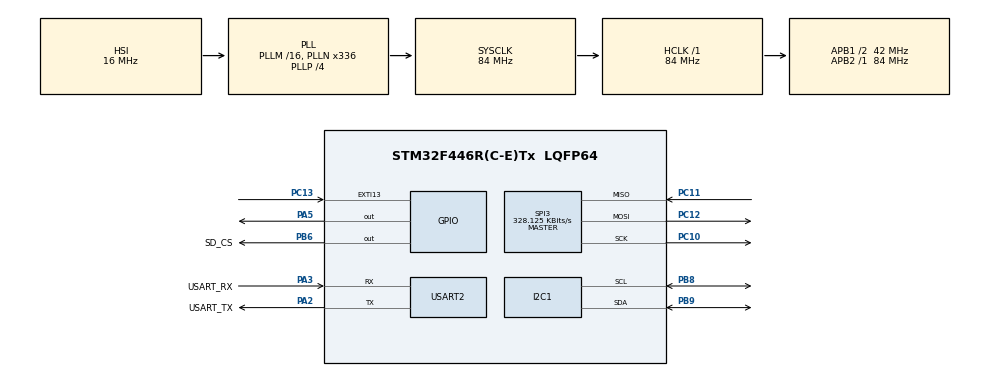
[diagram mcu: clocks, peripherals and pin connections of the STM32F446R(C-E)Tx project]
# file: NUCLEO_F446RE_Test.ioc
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Dma.Request0=SPI3_TX
Dma.Request1=SPI3_RX
Dma.SPI3_RX.1.Direction=DMA_PERIPH_TO_MEMORY
Dma.SPI3_RX.1.FIFOMode=DMA_FIFOMODE_DISABLE
Dma.SPI3_RX.1.Instance=DMA1_Stream0
Dma.SPI3_RX.1.MemDataAlignment=DMA_MDATAALIGN_BYTE
Dma.SPI3_RX.1.MemInc=DMA_MINC_ENABLE
Dma.SPI3_RX.1.Mode=DMA_NORMAL
Dma.SPI3_RX.1.PeriphDataAlignment=DMA_PDATAALIGN_BYTE
Dma.SPI3_RX.1.PeriphInc=DMA_PINC_DISABLE
Dma.SPI3_RX.1.Priority=DMA_PRIORITY_LOW
Dma.SPI3_TX.0.Direction=DMA_MEMORY_TO_PERIPH
Dma.SPI3_TX.0.FIFOMode=DMA_FIFOMODE_DISABLE
Dma.SPI3_TX.0.Instance=DMA1_Stream5
Dma.SPI3_TX.0.MemDataAlignment=DMA_MDATAALIGN_BYTE
Dma.SPI3_TX.0.MemInc=DMA_MINC_ENABLE
Dma.SPI3_TX.0.Mode=DMA_NORMAL
Dma.SPI3_TX.0.PeriphDataAlignment=DMA_PDATAALIGN_BYTE
Dma.SPI3_TX.0.PeriphInc=DMA_PINC_DISABLE
Dma.SPI3_TX.0.Priority=DMA_PRIORITY_LOW
FATFS._FS_REENTRANT=0
FREERTOS.BinarySemaphores01=ButtonSem,Dynamic,NULL,Available
FREERTOS.Mutexes01=I2cMutex,Dynamic,NULL,Available
FREERTOS.Tasks01=SdLogTask,16,1024,StartSdLogTask,Default,NULL,Dynamic,NULL,NULL;LedTask,32,128,StartLedTask,Default,NULL,Dynamic,NULL,NULL;SensorTask,24,256,StartSensorTask,Default,NULL,Dynamic,NULL,NULL;OledTask,24,512,StartOledTask,Default,NULL,Dynamic,NULL,NULL;UartCmdTask,24,256,StartUartCmdTask,Default,NULL,Dynamic,NULL,NULL;ButtonTask,40,128,StartButtonTask,Default,NULL,Dynamic,NULL,NULL
FREERTOS.configCHECK_FOR_STACK_OVERFLOW=2
FREERTOS.configTOTAL_HEAP_SIZE=20480
FREERTOS.configUSE_NEWLIB_REENTRANT=0
Mcu.Family=STM32F4
Mcu.Name=STM32F446R(C-E)Tx
Mcu.Package=LQFP64
NUCLEO-F446RE.BUTTON=1
NUCLEO-F446RE.LD1=true
NVIC.DMA1_Stream0_IRQn=true\:5\:0\:false\:false\:true\:true\:false\:true\:true
NVIC.DMA1_Stream5_IRQn=true\:5\:0\:false\:false\:true\:true\:false\:true\:true
NVIC.EXTI15_10_IRQn=true\:5\:0\:false\:false\:true\:true\:false\:true\:true
NVIC.PriorityGroup=NVIC_PRIORITYGROUP_4
NVIC.TIM6_DAC_IRQn=true\:15\:0\:false\:false\:true\:false\:false\:true\:true
NVIC.TimeBase=TIM6_DAC_IRQn
NVIC.TimeBaseIP=TIM6
NVIC.USART2_IRQn=true\:5\:0\:false\:false\:true\:true\:true\:true\:true
PA13.GPIO_Label=TMS
PA13.Signal=SYS_JTMS-SWDIO
PA14.GPIO_Label=TCK
PA14.Signal=SYS_JTCK-SWCLK
PA2.GPIO_Label=USART_TX
PA2.Mode=Asynchronous
PA2.Signal=USART2_TX
PA3.GPIO_Label=USART_RX
PA3.Mode=Asynchronous
PA3.Signal=USART2_RX
PA5.Signal=GPIO_Output
PB3.GPIO_Label=SWO
PB3.Signal=SYS_JTDO-SWO
PB6.GPIO_Label=SD_CS
PB6.Signal=GPIO_Output
PB8.Mode=I2C
PB8.Signal=I2C1_SCL
PB9.Mode=I2C
PB9.Signal=I2C1_SDA
PC10.Mode=Full_Duplex_Master
PC10.Signal=SPI3_SCK
PC11.Mode=Full_Duplex_Master
PC11.Signal=SPI3_MISO
PC12.Mode=Full_Duplex_Master
PC12.Signal=SPI3_MOSI
PC13.Signal=GPXTI13
PC14-OSC32_IN.Signal=RCC_OSC32_IN
PC15-OSC32_OUT.Signal=RCC_OSC32_OUT
PH0-OSC_IN.Signal=RCC_OSC_IN
PH1-OSC_OUT.Signal=RCC_OSC_OUT
ProjectManager.HeapSize=0x200
ProjectManager.StackSize=0x1000
ProjectManager.TargetToolchain=STM32CubeIDE
RCC.AHBFreq_Value=84000000
RCC.APB1CLKDivider=RCC_HCLK_DIV2
RCC.APB1Freq_Value=42000000
RCC.APB1TimFreq_Value=84000000
RCC.APB2Freq_Value=84000000
RCC.APB2TimFreq_Value=84000000
RCC.CortexFreq_Value=84000000
RCC.FLatency-AdvancedSettings=FLASH_LATENCY_2
RCC.HCLKFreq_Value=84000000
RCC.HSE_VALUE=8000000
RCC.HSI_VALUE=16000000
RCC.LSE_VALUE=32768
RCC.PLLN=336
RCC.PLLP=RCC_PLLP_DIV4
RCC.SYSCLKFreq_VALUE=84000000
RCC.SYSCLKSource=RCC_SYSCLKSOURCE_PLLCLK
RCC.USBFreq_Value=168000000
RCC.VCOOutputFreq_Value=336000000
SPI3.BaudRatePrescaler=SPI_BAUDRATEPRESCALER_128
SPI3.CalculateBaudRate=328.125 KBits/s
SPI3.Direction=SPI_DIRECTION_2LINES
SPI3.Mode=SPI_MODE_MASTER
SPI3.VirtualType=VM_MASTER
USART2.VirtualMode=VM_ASYNC
VP_FATFS_VS_Generic.Mode=User_defined
VP_FREERTOS_VS_CMSIS_V2.Mode=CMSIS_V2
VP_NUCLEO-F446RE_VS_BSP_COMMON.Mode=COMMON
VP_SYS_VS_tim6.Mode=TIM6
board=NUCLEO-F446RE

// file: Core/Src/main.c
/* USER CODE BEGIN Header */
/**
  ******************************************************************************
  * @file           : main.c
  * @brief          : Main program body
  ******************************************************************************
  * @attention
  *
  * Copyright (c) 2026 STMicroelectronics.
  * All rights reserved.
  *
  * This software is licensed under terms that can be found in the LICENSE file
  * in the root directory of this software component.
  * If no LICENSE file comes with this software, it is provided AS-IS.
  *
  ******************************************************************************
  */
/* USER CODE END Header */
#include "main.h"
#include "cmsis_os.h"
#include "fatfs.h"

/* USER CODE BEGIN Includes */
#include <stdio.h> // "為了 使用 printf 進行序列埠除錯輸出" 2026/07/05 [ADD] by s895025.
#include <string.h> // "為了 使用 memset(...)" 2026/08/01 [ADD] by s895025.
#include "app_button_led.h"
#include "app_uart_cmd.h"
#include "app_bmp180.h"
#include "app_oled.h"
#include "diskio.h"
#include "app_sdlog.h"
/* USER CODE END Includes */

I2C_HandleTypeDef hi2c1;

SPI_HandleTypeDef hspi3;
DMA_HandleTypeDef hdma_spi3_tx;
DMA_HandleTypeDef hdma_spi3_rx;

UART_HandleTypeDef huart2;

/* Definitions for SdLogTask */
osThreadId_t SdLogTaskHandle;
const osThreadAttr_t SdLogTask_attributes = {
  .name = "SdLogTask",
  .stack_size = 1024 * 4,
  .priority = (osPriority_t) osPriorityBelowNormal,
};
/* Definitions for LedTask */
osThreadId_t LedTaskHandle;
const osThreadAttr_t LedTask_attributes = {
  .name = "LedTask",
  .stack_size = 128 * 4,
  .priority = (osPriority_t) osPriorityAboveNormal,
};
/* Definitions for SensorTask */
osThreadId_t SensorTaskHandle;
const osThreadAttr_t SensorTask_attributes = {
  .name = "SensorTask",
  .stack_size = 256 * 4,
  .priority = (osPriority_t) osPriorityNormal,
};
/* Definitions for OledTask */
osThreadId_t OledTaskHandle;
const osThreadAttr_t OledTask_attributes = {
  .name = "OledTask",
  .stack_size = 512 * 4,
  .priority = (osPriority_t) osPriorityNormal,
};
/* Definitions for UartCmdTask */
osThreadId_t UartCmdTaskHandle;
const osThreadAttr_t UartCmdTask_attributes = {
  .name = "UartCmdTask",
  .stack_size = 256 * 4,
  .priority = (osPriority_t) osPriorityNormal,
};
/* Definitions for ButtonTask */
osThreadId_t ButtonTaskHandle;
const osThreadAttr_t ButtonTask_attributes = {
  .name = "ButtonTask",
  .stack_size = 128 * 4,
  .priority = (osPriority_t) osPriorityHigh,
};
/* Definitions for I2cMutex */
osMutexId_t I2cMutexHandle;
const osMutexAttr_t I2cMutex_attributes = {
  .name = "I2cMutex"
};
/* Definitions for ButtonSem */
osSemaphoreId_t ButtonSemHandle;
const osSemaphoreAttr_t ButtonSem_attributes = {
  .name = "ButtonSem"
};
/* USER CODE BEGIN PV */
// Private Variables
volatile uint32_t g_led_max_jitter = 0;
/* USER CODE END PV */

void SystemClock_Config(void);
static void MX_GPIO_Init(void);
static void MX_DMA_Init(void);
static void MX_USART2_UART_Init(void);
static void MX_I2C1_Init(void);
static void MX_SPI3_Init(void);
void StartSdLogTask(void *argument);
void StartLedTask(void *argument);
void StartSensorTask(void *argument);
void StartOledTask(void *argument);
void StartUartCmdTask(void *argument);
void StartButtonTask(void *argument);

/* USER CODE BEGIN PFP */
// Private Function Prototypes

/* USER CODE END PFP */

/* USER CODE BEGIN 0 */
HAL_StatusTypeDef i2c_status;
/* USER CODE END 0 */

int main(void)
{

  /* MCU Configuration--------------------------------------------------------*/

  /* Reset of all peripherals, Initializes the Flash interface and the Systick. */
  HAL_Init();

  /* Configure the system clock */
  SystemClock_Config();

  /* Initialize all configured peripherals */
  MX_GPIO_Init();
  MX_DMA_Init();
  MX_USART2_UART_Init();
  MX_I2C1_Init();
  MX_SPI3_Init();
  MX_FATFS_Init();
  /* USER CODE BEGIN 2 */
  // Button
  printf("\nHello, NUCLEO-F446RE1!\r\n"); // "printf Uart log" 2026/07/04 [ADD] by s895025.

  // Uart
  App_Uart_Receive();

  // I2C
  for (int address = 0x00; address <= 0x7F; address++)
  {
    i2c_status = HAL_I2C_IsDeviceReady(&hi2c1, address << 1, 3, 100); // "Check I2C address state" 2026/07/18 [ADD] by s895025.
    if (i2c_status == HAL_OK)
      printf("address state: %02X\r\n", address);
  }

  App_Bmp180_ReadData(); // "Read chip-id/CalibCoeffs from Bmp180" 2026/07/18 [ADD] by s895025.

  App_Oled_Init();
  //App_Oled_TestDisplay(); // "Show Hi" 2026/07/26 [ADD] by s895025.
  //App_Oled_TestColorBoundary(); // "color-zone boundary test" 2026/07/26 [ADD] by s895025.
  App_Oled_ReadData();

  //SPI
  //DSTATUS res = disk_initialize(0);   // 0 = physical drive number
  //printf("disk_initialize: %d\r\n", res);
  App_SdLog_Init();

  printf("Type 'led on' or 'led off' to control LED2\r\n");

  /* USER CODE END 2 */

  /* Init scheduler */
  osKernelInitialize();
  /* Create the mutex(es) */
  /* creation of I2cMutex */
  I2cMutexHandle = osMutexNew(&I2cMutex_attributes);

  /* Create the semaphores(s) */
  /* creation of ButtonSem */
  ButtonSemHandle = osSemaphoreNew(1, 1, &ButtonSem_attributes);

  /* Create the thread(s) */
  /* creation of SdLogTask */
  SdLogTaskHandle = osThreadNew(StartSdLogTask, NULL, &SdLogTask_attributes);

  /* creation of LedTask */
  LedTaskHandle = osThreadNew(StartLedTask, NULL, &LedTask_attributes);

  /* creation of SensorTask */
  SensorTaskHandle = osThreadNew(StartSensorTask, NULL, &SensorTask_attributes);

  /* creation of OledTask */
  OledTaskHandle = osThreadNew(StartOledTask, NULL, &OledTask_attributes);

  /* creation of UartCmdTask */
  UartCmdTaskHandle = osThreadNew(StartUartCmdTask, NULL, &UartCmdTask_attributes);

  /* creation of ButtonTask */
  ButtonTaskHandle = osThreadNew(StartButtonTask, NULL, &ButtonTask_attributes);

  /* USER CODE BEGIN RTOS_EVENTS */
  /* add events, ... */
  osThreadId_t handles[] = {
    SdLogTaskHandle, LedTaskHandle, SensorTaskHandle,
    OledTaskHandle, UartCmdTaskHandle, I2cMutexHandle
  };

  const char *names[] = {
    "SdLogTask", "LedTask", "SensorTask",
    "OledTask", "UartCmdTask", "I2cMutex"
  };

  for (int i = 0; i < 6; i++)
  {
    if (handles[i] == NULL)
      printf("Task create FAILED: %s\r\n", names[i]);
  }
  printf("Task check done.\r\n");

  //osThreadSetPriority(LedTaskHandle, osPriorityLow);   // Run 2 對照組：jitter 0 → 224 ms

  /* USER CODE END RTOS_EVENTS */

  /* Initialize leds */
  BSP_LED_Init(LED2);

  /* Initialize USER push-button, will be used to trigger an interrupt each time it's pressed.*/
  BSP_PB_Init(BUTTON_USER, BUTTON_MODE_EXTI);

  /* Start scheduler */
  osKernelStart();

  /* We should never get here as control is now taken by the scheduler */

  /* Infinite loop */
  /* USER CODE BEGIN WHILE */
  // osKernelStart() 後面都不會被執行
  while (1)
  {
    /* USER CODE END WHILE */

  }
}

void SystemClock_Config(void)
{
  RCC_OscInitTypeDef RCC_OscInitStruct = {0};
  RCC_ClkInitTypeDef RCC_ClkInitStruct = {0};

  /** Configure the main internal regulator output voltage
  */
  __HAL_RCC_PWR_CLK_ENABLE();
  __HAL_PWR_VOLTAGESCALING_CONFIG(PWR_REGULATOR_VOLTAGE_SCALE3);

  /** Initializes the RCC Oscillators according to the specified parameters
  * in the RCC_OscInitTypeDef structure.
  */
  RCC_OscInitStruct.OscillatorType = RCC_OSCILLATORTYPE_HSI;
  RCC_OscInitStruct.HSIState = RCC_HSI_ON;
  RCC_OscInitStruct.HSICalibrationValue = RCC_HSICALIBRATION_DEFAULT;
  RCC_OscInitStruct.PLL.PLLState = RCC_PLL_ON;
  RCC_OscInitStruct.PLL.PLLSource = RCC_PLLSOURCE_HSI;
  RCC_OscInitStruct.PLL.PLLM = 16;
  RCC_OscInitStruct.PLL.PLLN = 336;
  RCC_OscInitStruct.PLL.PLLP = RCC_PLLP_DIV4;
  RCC_OscInitStruct.PLL.PLLQ = 2;
  RCC_OscInitStruct.PLL.PLLR = 2;
  if (HAL_RCC_OscConfig(&RCC_OscInitStruct) != HAL_OK)
  {
    Error_Handler();
  }

  /** Initializes the CPU, AHB and APB buses clocks
  */
  RCC_ClkInitStruct.ClockType = RCC_CLOCKTYPE_HCLK|RCC_CLOCKTYPE_SYSCLK
                              |RCC_CLOCKTYPE_PCLK1|RCC_CLOCKTYPE_PCLK2;
  RCC_ClkInitStruct.SYSCLKSource = RCC_SYSCLKSOURCE_PLLCLK;
  RCC_ClkInitStruct.AHBCLKDivider = RCC_SYSCLK_DIV1;
  RCC_ClkInitStruct.APB1CLKDivider = RCC_HCLK_DIV2;
  RCC_ClkInitStruct.APB2CLKDivider = RCC_HCLK_DIV1;

  if (HAL_RCC_ClockConfig(&RCC_ClkInitStruct, FLASH_LATENCY_2) != HAL_OK)
  {
    Error_Handler();
  }
}

static void MX_I2C1_Init(void)
{

  hi2c1.Instance = I2C1;
  hi2c1.Init.ClockSpeed = 100000;
  hi2c1.Init.DutyCycle = I2C_DUTYCYCLE_2;
  hi2c1.Init.OwnAddress1 = 0;
  hi2c1.Init.AddressingMode = I2C_ADDRESSINGMODE_7BIT;
  hi2c1.Init.DualAddressMode = I2C_DUALADDRESS_DISABLE;
  hi2c1.Init.OwnAddress2 = 0;
  hi2c1.Init.GeneralCallMode = I2C_GENERALCALL_DISABLE;
  hi2c1.Init.NoStretchMode = I2C_NOSTRETCH_DISABLE;
  if (HAL_I2C_Init(&hi2c1) != HAL_OK)
  {
    Error_Handler();
  }

}

static void MX_SPI3_Init(void)
{

  /* SPI3 parameter configuration*/
  hspi3.Instance = SPI3;
  hspi3.Init.Mode = SPI_MODE_MASTER;
  hspi3.Init.Direction = SPI_DIRECTION_2LINES;
  hspi3.Init.DataSize = SPI_DATASIZE_8BIT;
  hspi3.Init.CLKPolarity = SPI_POLARITY_LOW;
  hspi3.Init.CLKPhase = SPI_PHASE_1EDGE;
  hspi3.Init.NSS = SPI_NSS_SOFT;
  hspi3.Init.BaudRatePrescaler = SPI_BAUDRATEPRESCALER_128;
  hspi3.Init.FirstBit = SPI_FIRSTBIT_MSB;
  hspi3.Init.TIMode = SPI_TIMODE_DISABLE;
  hspi3.Init.CRCCalculation = SPI_CRCCALCULATION_DISABLE;
  hspi3.Init.CRCPolynomial = 10;
  if (HAL_SPI_Init(&hspi3) != HAL_OK)
  {
    Error_Handler();
  }

}

static void MX_USART2_UART_Init(void)
{

  huart2.Instance = USART2;
  huart2.Init.BaudRate = 115200;
  huart2.Init.WordLength = UART_WORDLENGTH_8B;
  huart2.Init.StopBits = UART_STOPBITS_1;
  huart2.Init.Parity = UART_PARITY_NONE;
  huart2.Init.Mode = UART_MODE_TX_RX;
  huart2.Init.HwFlowCtl = UART_HWCONTROL_NONE;
  huart2.Init.OverSampling = UART_OVERSAMPLING_16;
  if (HAL_UART_Init(&huart2) != HAL_OK)
  {
    Error_Handler();
  }

}

static void MX_DMA_Init(void)
{

  /* DMA controller clock enable */
  __HAL_RCC_DMA1_CLK_ENABLE();

  /* DMA interrupt init */
  /* DMA1_Stream0_IRQn interrupt configuration */
  HAL_NVIC_SetPriority(DMA1_Stream0_IRQn, 5, 0);
  HAL_NVIC_EnableIRQ(DMA1_Stream0_IRQn);
  /* DMA1_Stream5_IRQn interrupt configuration */
  HAL_NVIC_SetPriority(DMA1_Stream5_IRQn, 5, 0);
  HAL_NVIC_EnableIRQ(DMA1_Stream5_IRQn);

}

static void MX_GPIO_Init(void)
{
  GPIO_InitTypeDef GPIO_InitStruct = {0};

  /* GPIO Ports Clock Enable */
  __HAL_RCC_GPIOC_CLK_ENABLE();
  __HAL_RCC_GPIOH_CLK_ENABLE();
  __HAL_RCC_GPIOA_CLK_ENABLE();
  __HAL_RCC_GPIOB_CLK_ENABLE();

  /*Configure GPIO pin Output Level */
  HAL_GPIO_WritePin(SD_CS_GPIO_Port, SD_CS_Pin, GPIO_PIN_RESET);

  /*Configure GPIO pin : SD_CS_Pin */
  GPIO_InitStruct.Pin = SD_CS_Pin;
  GPIO_InitStruct.Mode = GPIO_MODE_OUTPUT_PP;
  GPIO_InitStruct.Pull = GPIO_NOPULL;
  GPIO_InitStruct.Speed = GPIO_SPEED_FREQ_LOW;
  HAL_GPIO_Init(SD_CS_GPIO_Port, &GPIO_InitStruct);

}

/* USER CODE BEGIN 4 */
// "放在 USER CODE BEGIN 4，避免 CubeMX regenerate code 時被覆蓋"

// "將 printf 導向 USART2，透過 HAL_UART_Transmit 送出，供 syscalls.c 的 _write() 呼叫" 2026/07/05 [ADD] by s895025.
int __io_putchar(int ch)
{
  HAL_UART_Transmit(&huart2, (uint8_t *)&ch, 1, HAL_MAX_DELAY);
  return ch;
}

/* USER CODE END 4 */

void StartSdLogTask(void *argument)
{
  /* USER CODE BEGIN 5 */
  /* Infinite loop */
  for(;;)
  {
    App_SdLog_Update();
    osDelay(100); // RTOS3
  }
  /* USER CODE END 5 */
}

void StartLedTask(void *argument)
{
  /* USER CODE BEGIN StartLedTask */
  /* Infinite loop */
  for(;;)
  {
    static uint32_t last = 0;
    uint32_t now = HAL_GetTick();

    if (last != 0)
    {
      uint32_t delta = now - last;
      if (delta > 500 && (delta - 500) > g_led_max_jitter)
        g_led_max_jitter = delta - 500;
    }
    last = now;

    App_ButtonLed_Toggle();
    osDelay(500);
  }
  /* USER CODE END StartLedTask */
}

void StartSensorTask(void *argument)
{
  /* USER CODE BEGIN StartSensorTask */
  /* Infinite loop */
  for(;;)
  {
    osMutexAcquire(I2cMutexHandle, osWaitForever);
    App_Bmp180_ReadData();
    osMutexRelease(I2cMutexHandle);
    osDelay(1000);
  }
  /* USER CODE END StartSensorTask */
}

void StartOledTask(void *argument)
{
  /* USER CODE BEGIN StartOledTask */
  /* Infinite loop */
  for(;;)
  {
    float temp = App_Bmp180_GetTemperature() / 10.f;
    float pres = App_Bmp180_GetPressure()   / 100.f;

    osMutexAcquire(I2cMutexHandle, osWaitForever);
    App_Oled_UpdateWeather(temp, pres);
    osMutexRelease(I2cMutexHandle);
    osDelay(1000);
  }
  /* USER CODE END StartOledTask */
}

void StartUartCmdTask(void *argument)
{
  /* USER CODE BEGIN StartUartCmdTask */
  /* Infinite loop */
  for(;;)
  {
    App_Uart_CmdTask_Poll();
    App_ButtonLed_DebugPrint(); // [DEBUG] 量測彈跳用，測完可刪除
    osDelay(1);
  }
  /* USER CODE END StartUartCmdTask */
}

void StartButtonTask(void *argument)
{
  /* USER CODE BEGIN StartButtonTask */
  osSemaphoreAcquire(ButtonSemHandle, 0); // 消耗掉開機時的初始 token，timeout 給 0 代表不等

  /* Infinite loop */
  for(;;)
  {
    osSemaphoreAcquire(ButtonSemHandle, osWaitForever); // 等中斷 give
    osDelay(30);                                        // 等彈跳結束

    if (BSP_PB_GetState(BUTTON_USER) == GPIO_PIN_RESET) // 按下 = 低電位 = 0
    {
      App_ButtonLed_OnPress(); // 確定是真的按下才處理
    }

    osSemaphoreAcquire(ButtonSemHandle, 0);             // 清掉彈跳期間多 give 的
  }
  /* USER CODE END StartButtonTask */
}

void HAL_TIM_PeriodElapsedCallback(TIM_HandleTypeDef *htim)
{
  if (htim->Instance == TIM6)
  {
    HAL_IncTick();
  }
}

void Error_Handler(void)
{
  __disable_irq();
  while (1)
  {
  }
}
